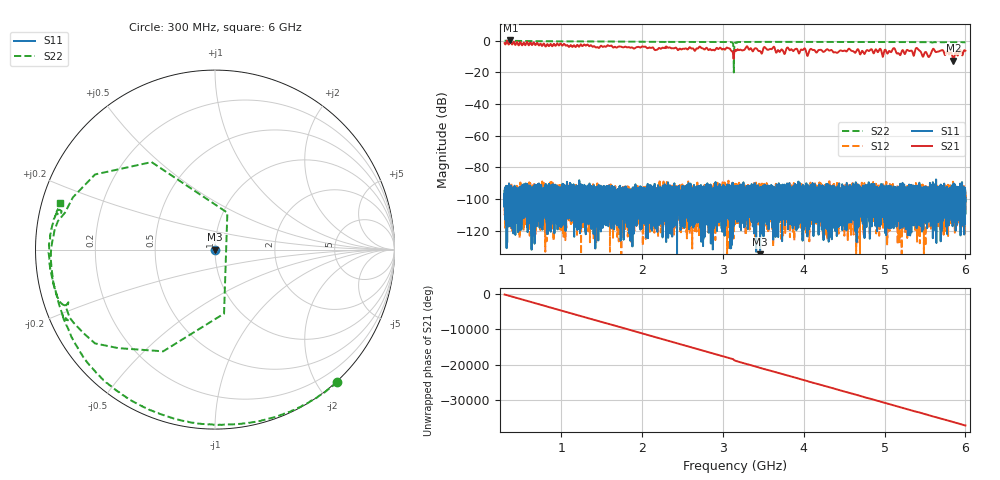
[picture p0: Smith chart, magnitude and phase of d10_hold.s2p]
!Agilent Technologies,N5230C,SG49000117,A.08.50.07
!Agilent N5230C: A.08.50.07
!Date: Sunday, March 17, 2024 08:31:42
!Correction: S11(Off)
!S21(Off)
!S12(Off)
!S22(Full 1 Port(2))
!S2P File: Measurements: S11, S21, S12, S22:
# Hz S  RI  R 50
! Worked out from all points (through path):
!   20001 points, 300 MHz to 6 GHz, reference 50 ohm
!   highest |S21| = 0.23 dB at 371.2 MHz (marker M1); lowest = -12.5 dB at 5.851 GHz (marker M2)
!   lowest |S11| = -135.5 dB at 3.461 GHz (marker M3), VSWR 1.00, Z = 50 + j1.57e-06 ohm
!   |S11| at or under -10 dB: start of sweep to end of sweep
!   |S22| runs from -20.0 to 0.1 dB; largest |S21 - S12| = 1
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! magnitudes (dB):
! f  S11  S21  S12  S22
! 300 MHz  -96.7  -1.4  -99.6  0.0
! 371.2 MHz  -94.2  0.2  -104.8  0.0
! 1.25 GHz  -93.7  -2.7  -101.7  -0.4
! 2.2 GHz  -102.1  -4.9  -99.6  -0.6
! 3.062 GHz  -105.5  -4.6  -95.8  -0.8
! 3.15 GHz  -95.4  -6.0  -96.4  -1.4
! 3.296 GHz  -91.7  -3.5  -96.3  -0.7
! 3.461 GHz  -135.5  -6.5  -94.3  -0.7
! 3.524 GHz  -92.3  -4.3  -97.9  -0.7
! 3.68 GHz  -107.4  -5.9  -100.5  -0.7
! 3.995 GHz  -96.9  -5.5  -100.5  -0.7
! 4.049 GHz  -110.0  -9.4  -109.4  -0.7
! 4.1 GHz  -106.5  -5.5  -102.4  -0.7
! 5.05 GHz  -100.5  -6.8  -104.4  -0.8
! 5.113 GHz  -92.0  -4.6  -100.4  -0.8
! 5.175 GHz  -99.3  -7.9  -97.1  -0.8
! 5.35 GHz  -110.5  -8.0  -100.8  -0.8
! 5.407 GHz  -99.3  -4.9  -94.7  -0.8
! 5.472 GHz  -103.6  -10.0  -94.2  -0.8
! 5.703 GHz  -120.4  -6.0  -102.1  -0.9
! 5.851 GHz  -94.8  -12.5  -106.3  -0.9
! 6 GHz  -101.4  -6.3  -102.5  -0.9
